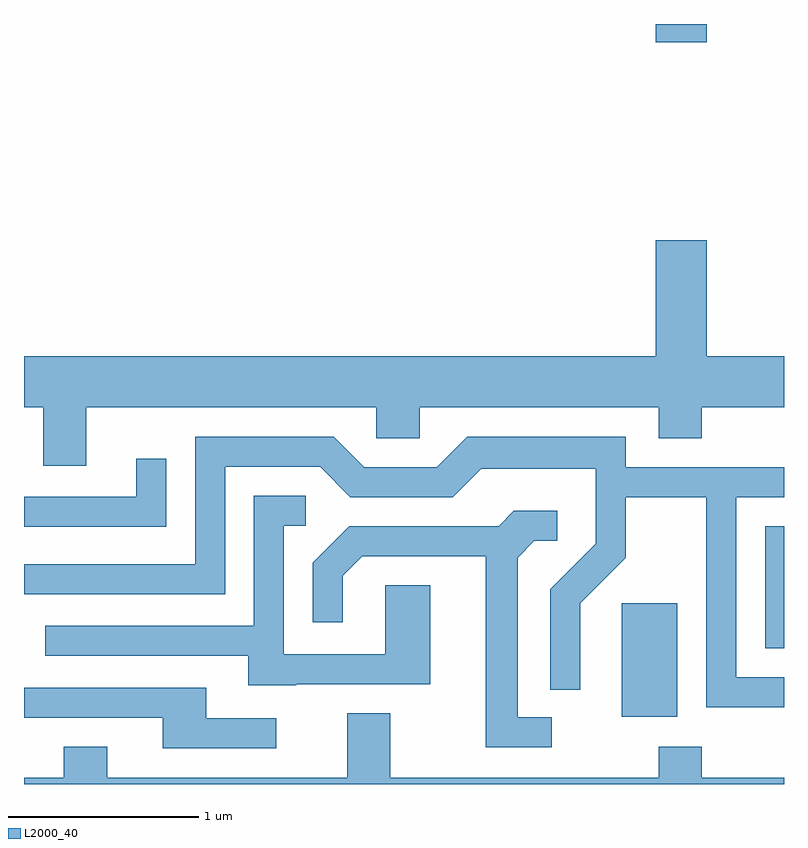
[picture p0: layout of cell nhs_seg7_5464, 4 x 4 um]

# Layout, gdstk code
import gdstk
lib = gdstk.Library(unit=1e-6, precision=1e-09)
def R(c, l, rs):  # rectangles x0, y0, x1, y1
    for r in rs: c.add(gdstk.rectangle(r[:2], r[2:], *l))
def P(c, l, *ps):  # polygons
    for p in ps: c.add(gdstk.Polygon(p, *l))
L2000_40 = (2000, 40)

nhs_seg7_5464 = lib.new_cell('nhs_seg7_5464')
R(nhs_seg7_5464, L2000_40, [(354.756,1792.606,355.049,1793.204), (355.511,1792.966,355.611,1793.609), (354.936,1796.156,355.204,1796.252)])
P(nhs_seg7_5464, L2000_40, [(351.939,1794.236),(353.466,1794.236),(353.466,1794.071),(353.694,1794.071),(353.694,1794.236),(354.951,1794.236),(354.951,1794.071),(355.179,1794.071),(355.179,1794.236),(355.611,1794.236),(355.611,1794.504),(355.204,1794.504),(355.204,1795.114),(354.936,1795.114),(354.936,1794.504),(351.611,1794.504),(351.611,1794.236),(351.711,1794.236),(351.711,1793.926),(351.939,1793.926)],
  [(355.611,1792.814),(355.359,1792.814),(355.359,1793.761),(355.611,1793.761),(355.611,1793.919),(354.779,1793.919),(354.779,1794.079),(353.944,1794.079),(353.784,1793.919),(353.402,1793.919),(353.242,1794.079),(352.511,1794.079),(352.511,1793.409),(351.611,1793.409),(351.611,1793.251),(352.669,1793.251),(352.669,1793.921),(353.169,1793.921),(353.329,1793.761),(353.867,1793.761),(354.017,1793.911),(354.621,1793.911),(354.621,1793.517),(354.381,1793.277),(354.381,1792.748),(354.539,1792.748),(354.539,1793.204),(354.779,1793.444),(354.779,1793.761),(355.201,1793.761),(355.201,1792.656),(355.611,1792.656)],
  [(352.359,1793.963),(352.201,1793.963),(352.201,1793.764),(351.611,1793.764),(351.611,1793.606),(352.359,1793.606)],
  [(353.045,1792.776),(353.749,1792.776),(353.749,1793.299),(353.511,1793.299),(353.511,1792.934),(352.979,1792.934),(352.979,1793.611),(353.093,1793.611),(353.093,1793.769),(352.821,1793.769),(352.821,1793.084),(351.723,1793.084),(351.723,1792.926),(352.791,1792.926),(352.791,1792.771),(353.045,1792.771)],
  [(354.388,1792.604),(354.209,1792.604),(354.209,1793.444),(354.297,1793.531),(354.418,1793.531),(354.418,1793.689),(354.189,1793.689),(354.109,1793.609),(353.324,1793.609),(353.131,1793.417),(353.131,1793.103),(353.289,1793.103),(353.289,1793.349),(353.392,1793.451),(354.041,1793.451),(354.041,1792.446),(354.388,1792.446)],
  [(352.938,1792.599),(352.569,1792.599),(352.569,1792.759),(351.611,1792.759),(351.611,1792.601),(352.341,1792.601),(352.341,1792.441),(352.938,1792.441)],
  [(355.611,1792.284),(355.179,1792.284),(355.179,1792.449),(354.951,1792.449),(354.951,1792.284),(353.539,1792.284),(353.539,1792.624),(353.311,1792.624),(353.311,1792.284),(352.049,1792.284),(352.049,1792.449),(351.821,1792.449),(351.821,1792.284),(351.611,1792.284),(351.611,1792.252),(355.611,1792.252)])

lib.write_gds('nhs_seg7_5464.gds')
